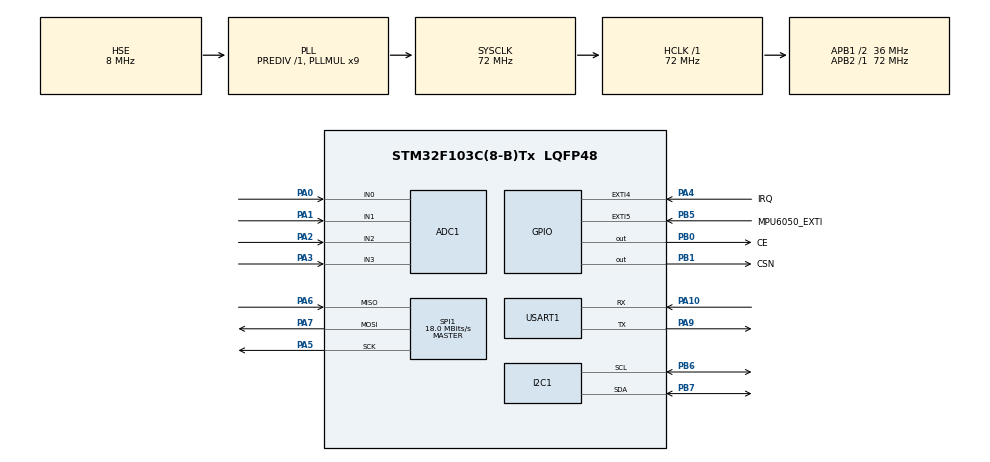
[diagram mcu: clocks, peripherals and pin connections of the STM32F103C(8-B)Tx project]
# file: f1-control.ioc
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ADC1.Channel-0\#ChannelRegularConversion=ADC_CHANNEL_0
ADC1.Channel-1\#ChannelRegularConversion=ADC_CHANNEL_1
ADC1.Channel-2\#ChannelRegularConversion=ADC_CHANNEL_2
ADC1.Channel-3\#ChannelRegularConversion=ADC_CHANNEL_3
ADC1.DiscontinuousConvMode=ENABLE
ADC1.NbrOfConversion=4
ADC1.NbrOfConversionFlag=1
ADC1.Rank-0\#ChannelRegularConversion=1
ADC1.Rank-1\#ChannelRegularConversion=2
ADC1.Rank-2\#ChannelRegularConversion=3
ADC1.Rank-3\#ChannelRegularConversion=4
ADC1.SamplingTime-0\#ChannelRegularConversion=ADC_SAMPLETIME_1CYCLE_5
ADC1.SamplingTime-1\#ChannelRegularConversion=ADC_SAMPLETIME_1CYCLE_5
ADC1.SamplingTime-2\#ChannelRegularConversion=ADC_SAMPLETIME_1CYCLE_5
ADC1.SamplingTime-3\#ChannelRegularConversion=ADC_SAMPLETIME_1CYCLE_5
ADC1.master=1
FREERTOS.Tasks01=defaultTask,24,128,StartDefaultTask,Default,NULL,Dynamic,NULL,NULL
Mcu.Family=STM32F1
Mcu.Name=STM32F103C(8-B)Tx
Mcu.Package=LQFP48
NVIC.EXTI4_IRQn=true\:0\:0\:false\:false\:true\:false\:true\:true\:true
NVIC.PriorityGroup=NVIC_PRIORITYGROUP_4
NVIC.TIM1_UP_IRQn=true\:15\:0\:false\:false\:true\:false\:false\:true\:true
NVIC.TimeBase=TIM1_UP_IRQn
NVIC.TimeBaseIP=TIM1
NVIC.USART1_IRQn=true\:5\:0\:false\:false\:true\:true\:true\:true\:true
PA0-WKUP.Signal=ADCx_IN0
PA1.Signal=ADCx_IN1
PA10.Mode=Asynchronous
PA10.Signal=USART1_RX
PA13.Mode=Serial_Wire
PA13.Signal=SYS_JTMS-SWDIO
PA14.Mode=Serial_Wire
PA14.Signal=SYS_JTCK-SWCLK
PA2.Signal=ADCx_IN2
PA3.Signal=ADCx_IN3
PA4.GPIO_Label=IRQ
PA4.GPIO_ModeDefaultEXTI=GPIO_MODE_IT_FALLING
PA4.Signal=GPXTI4
PA5.Mode=Full_Duplex_Master
PA5.Signal=SPI1_SCK
PA6.Mode=Full_Duplex_Master
PA6.Signal=SPI1_MISO
PA7.Mode=Full_Duplex_Master
PA7.Signal=SPI1_MOSI
PA9.Mode=Asynchronous
PA9.Signal=USART1_TX
PB0.GPIO_Label=CE
PB0.Signal=GPIO_Output
PB1.GPIO_Label=CSN
PB1.Signal=GPIO_Output
PB5.GPIO_Label=MPU6050_EXTI
PB5.GPIO_ModeDefaultEXTI=GPIO_MODE_IT_FALLING
PB5.Signal=GPXTI5
PB6.Mode=I2C
PB6.Signal=I2C1_SCL
PB7.Mode=I2C
PB7.Signal=I2C1_SDA
PD0-OSC_IN.Mode=HSE-External-Oscillator
PD0-OSC_IN.Signal=RCC_OSC_IN
PD1-OSC_OUT.Mode=HSE-External-Oscillator
PD1-OSC_OUT.Signal=RCC_OSC_OUT
ProjectManager.HeapSize=0x200
ProjectManager.StackSize=0x400
ProjectManager.TargetToolchain=Makefile
RCC.ADCPresc=RCC_ADCPCLK2_DIV6
RCC.AHBFreq_Value=72000000
RCC.APB1CLKDivider=RCC_HCLK_DIV2
RCC.APB1Freq_Value=36000000
RCC.APB1TimFreq_Value=72000000
RCC.APB2Freq_Value=72000000
RCC.APB2TimFreq_Value=72000000
RCC.HCLKFreq_Value=72000000
RCC.PLLMUL=RCC_PLL_MUL9
RCC.PLLSourceVirtual=RCC_PLLSOURCE_HSE
RCC.SYSCLKFreq_VALUE=72000000
RCC.SYSCLKSource=RCC_SYSCLKSOURCE_PLLCLK
RCC.USBFreq_Value=72000000
SH.ADCx_IN0.0=ADC1_IN0,IN0
SH.ADCx_IN1.0=ADC1_IN1,IN1
SH.ADCx_IN2.0=ADC1_IN2,IN2
SH.ADCx_IN3.0=ADC1_IN3,IN3
SPI1.BaudRatePrescaler=SPI_BAUDRATEPRESCALER_4
SPI1.CalculateBaudRate=18.0 MBits/s
SPI1.Direction=SPI_DIRECTION_2LINES
SPI1.Mode=SPI_MODE_MASTER
SPI1.VirtualType=VM_MASTER
USART1.VirtualMode=VM_ASYNC
VP_FREERTOS_VS_CMSIS_V2.Mode=CMSIS_V2
VP_SYS_VS_tim1.Mode=TIM1
board=custom

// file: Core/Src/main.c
/* USER CODE BEGIN Header */
/**
  ******************************************************************************
  * @file           : main.c
  * @brief          : Main program body
  ******************************************************************************
  * @attention
  *
  * Copyright (c) 2025 STMicroelectronics.
  * All rights reserved.
  *
  * This software is licensed under terms that can be found in the LICENSE file
  * in the root directory of this software component.
  * If no LICENSE file comes with this software, it is provided AS-IS.
  *
  ******************************************************************************
  */
/* USER CODE END Header */
#include "main.h"
#include "cmsis_os.h"
#include "adc.h"
#include "i2c.h"
#include "spi.h"
#include "usart.h"
#include "gpio.h"

void SystemClock_Config(void);
void MX_FREERTOS_Init(void);

int main(void)
{

  /* MCU Configuration--------------------------------------------------------*/

  /* Reset of all peripherals, Initializes the Flash interface and the Systick. */
  HAL_Init();

  /* Configure the system clock */
  SystemClock_Config();

  /* Initialize all configured peripherals */
  MX_GPIO_Init();
  MX_ADC1_Init();
  MX_I2C1_Init();
  MX_SPI1_Init();
  MX_USART1_UART_Init();

  /* Init scheduler */
  osKernelInitialize();

  /* Call init function for freertos objects (in cmsis_os2.c) */
  MX_FREERTOS_Init();

  /* Start scheduler */
  osKernelStart();

  /* We should never get here as control is now taken by the scheduler */

  /* Infinite loop */
  while (1)
  {

  }
}

void SystemClock_Config(void)
{
  RCC_OscInitTypeDef RCC_OscInitStruct = {0};
  RCC_ClkInitTypeDef RCC_ClkInitStruct = {0};
  RCC_PeriphCLKInitTypeDef PeriphClkInit = {0};

  /** Initializes the RCC Oscillators according to the specified parameters
  * in the RCC_OscInitTypeDef structure.
  */
  RCC_OscInitStruct.OscillatorType = RCC_OSCILLATORTYPE_HSE;
  RCC_OscInitStruct.HSEState = RCC_HSE_ON;
  RCC_OscInitStruct.HSEPredivValue = RCC_HSE_PREDIV_DIV1;
  RCC_OscInitStruct.HSIState = RCC_HSI_ON;
  RCC_OscInitStruct.PLL.PLLState = RCC_PLL_ON;
  RCC_OscInitStruct.PLL.PLLSource = RCC_PLLSOURCE_HSE;
  RCC_OscInitStruct.PLL.PLLMUL = RCC_PLL_MUL9;
  if (HAL_RCC_OscConfig(&RCC_OscInitStruct) != HAL_OK)
  {
    Error_Handler();
  }

  /** Initializes the CPU, AHB and APB buses clocks
  */
  RCC_ClkInitStruct.ClockType = RCC_CLOCKTYPE_HCLK|RCC_CLOCKTYPE_SYSCLK
                              |RCC_CLOCKTYPE_PCLK1|RCC_CLOCKTYPE_PCLK2;
  RCC_ClkInitStruct.SYSCLKSource = RCC_SYSCLKSOURCE_PLLCLK;
  RCC_ClkInitStruct.AHBCLKDivider = RCC_SYSCLK_DIV1;
  RCC_ClkInitStruct.APB1CLKDivider = RCC_HCLK_DIV2;
  RCC_ClkInitStruct.APB2CLKDivider = RCC_HCLK_DIV1;

  if (HAL_RCC_ClockConfig(&RCC_ClkInitStruct, FLASH_LATENCY_2) != HAL_OK)
  {
    Error_Handler();
  }
  PeriphClkInit.PeriphClockSelection = RCC_PERIPHCLK_ADC;
  PeriphClkInit.AdcClockSelection = RCC_ADCPCLK2_DIV6;
  if (HAL_RCCEx_PeriphCLKConfig(&PeriphClkInit) != HAL_OK)
  {
    Error_Handler();
  }
}

void HAL_TIM_PeriodElapsedCallback(TIM_HandleTypeDef *htim)
{
  if (htim->Instance == TIM1)
  {
    HAL_IncTick();
  }
}

void Error_Handler(void)
{
  __disable_irq();
  while (1)
  {
  }
}

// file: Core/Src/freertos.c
/* USER CODE BEGIN Header */
/**
 ******************************************************************************
 * File Name          : freertos.c
 * Description        : Code for freertos applications
 ******************************************************************************
 * @attention
 *
 * Copyright (c) 2025 STMicroelectronics.
 * All rights reserved.
 *
 * This software is licensed under terms that can be found in the LICENSE file
 * in the root directory of this software component.
 * If no LICENSE file comes with this software, it is provided AS-IS.
 *
 ******************************************************************************
 */
/* USER CODE END Header */

#include "FreeRTOS.h"
#include "task.h"
#include "main.h"
#include "cmsis_os.h"

/* USER CODE BEGIN Includes */
#include "tasks.h"
/* USER CODE END Includes */

/* USER CODE BEGIN Variables */
osThreadId_t oledTaskHandle;
const osThreadAttr_t oledTask_attributes = {
    .name = "oledTask",
    .stack_size = 128 * 8,
    .priority = (osPriority_t)osPriorityNormal,
};

osThreadId_t controlTaskHandle;
const osThreadAttr_t controlTask_attributes = {
    .name = "controlTask",
    .stack_size = 128 * 8,
    .priority = (osPriority_t)osPriorityNormal1,
};

osMutexId_t i2c_bus_mutex;

osEventFlagsId_t mpu6050_init_event;
/* USER CODE END Variables */
/* Definitions for defaultTask */
osThreadId_t defaultTaskHandle;
const osThreadAttr_t defaultTask_attributes = {
    .name = "defaultTask",
    .stack_size = 128 * 4,
    .priority = (osPriority_t)osPriorityNormal,
};

void StartDefaultTask(void *argument);

void MX_FREERTOS_Init(void); /* (MISRA C 2004 rule 8.1) */

void MX_FREERTOS_Init(void)
{

  /* Create the thread(s) */
  /* creation of defaultTask */
  defaultTaskHandle = osThreadNew(StartDefaultTask, NULL, &defaultTask_attributes);

  /* USER CODE BEGIN RTOS_THREADS */
  /* add threads, ... */
  oledTaskHandle = osThreadNew(oled_task, NULL, &oledTask_attributes);
  controlTaskHandle = osThreadNew(control_task, NULL, &controlTask_attributes);
  /* USER CODE END RTOS_THREADS */

  /* USER CODE BEGIN RTOS_EVENTS */
  /* add events, ... */
  mpu6050_init_event = osEventFlagsNew(NULL);
  /* USER CODE END RTOS_EVENTS */
}

void StartDefaultTask(void *argument)
{
  for (;;)
  {
    osDelay(1);
  }
}
